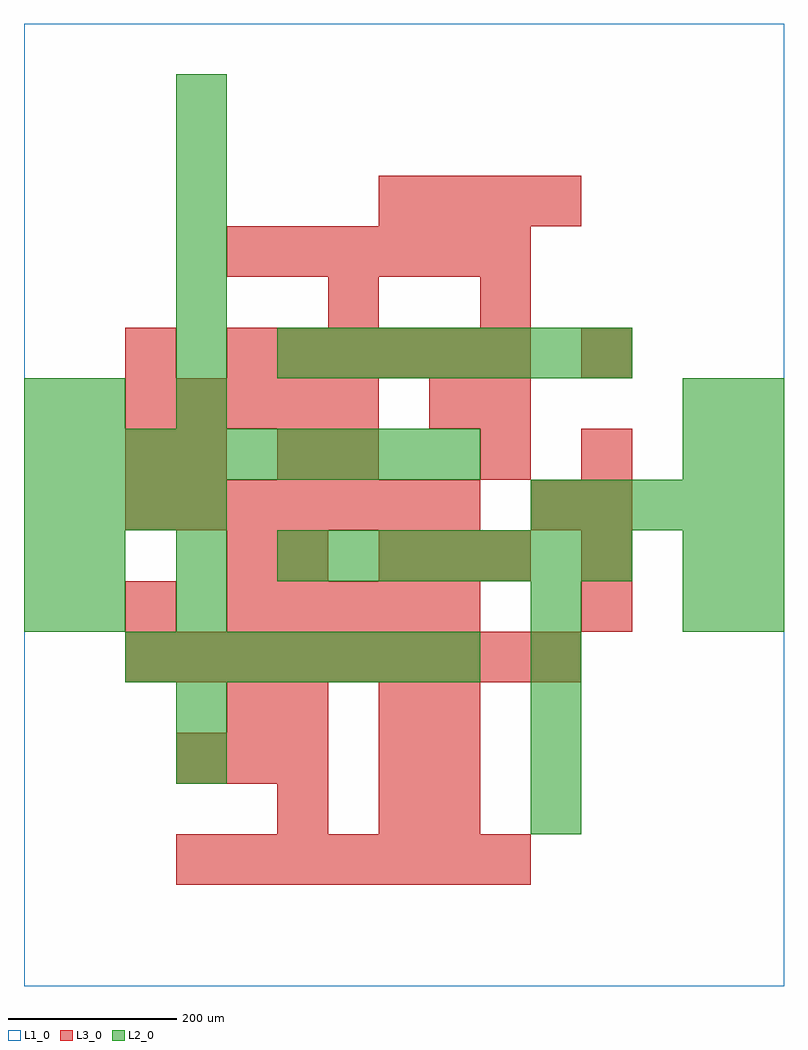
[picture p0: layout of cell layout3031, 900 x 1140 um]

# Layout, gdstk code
import gdstk
lib = gdstk.Library(unit=1e-6, precision=1e-09)
def R(c, l, rs):  # rectangles x0, y0, x1, y1
    for r in rs: c.add(gdstk.rectangle(r[:2], r[2:], *l))
def A(c, l, x, y, w, h, nx, ny, dx, dy):  # array of equal rectangles
    R(c, l, [(x+i*dx, y+j*dy, x+i*dx+w, y+j*dy+h) for i in range(nx) for j in range(ny)])
L1_0 = (1, 0)
L2_0 = (2, 0)
L3_0 = (3, 0)

layout3031 = lib.new_cell('layout3031')
R(layout3031, L1_0, [(0,0,900,1140)])
A(layout3031, L2_0, 600, 180, 60, 60, 1, 5, 0, 60)
A(layout3031, L2_0, 120, 360, 60, 60, 7, 1, 60, 0)
A(layout3031, L2_0, 60, 480, 60, 60, 3, 1, 120, 0)
A(layout3031, L2_0, 360, 480, 60, 60, 6, 1, 60, 0)
A(layout3031, L2_0, 0, 540, 60, 60, 4, 1, 60, 0)
A(layout3031, L2_0, 600, 540, 60, 60, 5, 1, 60, 0)
A(layout3031, L2_0, 0, 600, 60, 60, 9, 1, 60, 0)
A(layout3031, L2_0, 180, 660, 60, 60, 1, 7, 0, 60)
A(layout3031, L2_0, 300, 720, 60, 60, 7, 1, 60, 0)
R(layout3031, L2_0, [(180,240,240,300), (180,300,240,360), (0,420,60,480), (60,420,120,480), (180,420,240,480), (780,420,840,480), (840,420,900,480), (0,480,60,540), (780,480,840,540), (840,480,900,540), (780,600,840,660), (840,600,900,660), (0,660,60,720), (60,660,120,720), (780,660,840,720), (840,660,900,720)])
A(layout3031, L3_0, 180, 120, 60, 60, 7, 1, 60, 0)
A(layout3031, L3_0, 420, 180, 60, 60, 1, 3, 0, 60)
A(layout3031, L3_0, 480, 180, 60, 60, 1, 3, 0, 60)
A(layout3031, L3_0, 180, 240, 60, 60, 3, 1, 60, 0)
A(layout3031, L3_0, 120, 360, 60, 60, 9, 1, 60, 0)
A(layout3031, L3_0, 240, 420, 60, 60, 5, 1, 60, 0)
A(layout3031, L3_0, 660, 420, 60, 60, 1, 4, 0, 60)
A(layout3031, L3_0, 420, 480, 60, 60, 3, 1, 60, 0)
A(layout3031, L3_0, 120, 540, 60, 60, 7, 1, 60, 0)
A(layout3031, L3_0, 120, 660, 60, 60, 5, 1, 60, 0)
A(layout3031, L3_0, 240, 720, 60, 60, 6, 2, 60, 120)
A(layout3031, L3_0, 420, 900, 60, 60, 4, 1, 60, 0)
R(layout3031, L3_0, [(300,180,360,240), (240,300,300,360), (300,300,360,360), (120,420,180,480), (240,480,300,540), (300,480,360,540), (600,540,660,600), (120,600,180,660), (180,600,240,660), (300,600,360,660), (360,600,420,660), (540,600,600,660), (480,660,540,720), (540,660,600,720), (120,720,180,780), (660,720,720,780), (360,780,420,840), (540,780,600,840)])

lib.write_gds('layout3031.gds')
